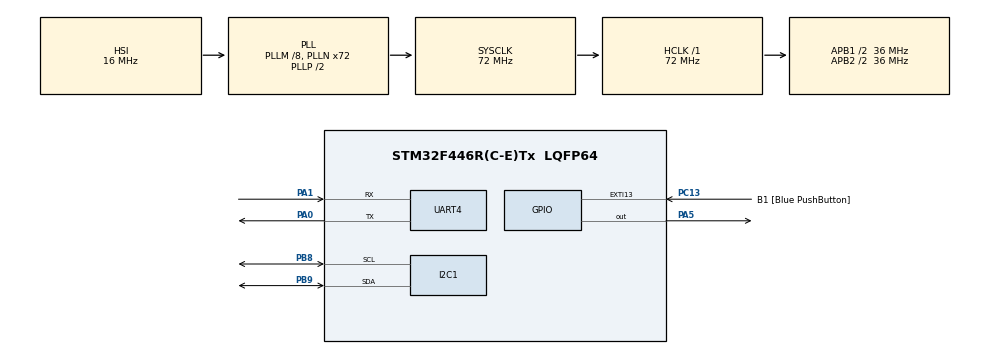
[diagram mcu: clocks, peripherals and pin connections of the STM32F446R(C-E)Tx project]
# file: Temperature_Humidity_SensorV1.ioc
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I2C1.I2C_Mode=I2C_Fast
Mcu.Family=STM32F4
Mcu.Name=STM32F446R(C-E)Tx
Mcu.Package=LQFP64
NVIC.PriorityGroup=NVIC_PRIORITYGROUP_0
NVIC.UART4_IRQn=true\:0\:0\:false\:false\:true\:true\:true\:true
PA0-WKUP.Mode=Asynchronous
PA0-WKUP.Signal=UART4_TX
PA1.Mode=Asynchronous
PA1.Signal=UART4_RX
PA10.Signal=USART1_RX
PA13.GPIO_Label=TMS
PA13.Mode=Serial_Wire
PA13.Signal=SYS_JTMS-SWDIO
PA14.GPIO_Label=TCK
PA14.Mode=Serial_Wire
PA14.Signal=SYS_JTCK-SWCLK
PA5.Signal=GPIO_Output
PA9.Signal=USART1_TX
PB3.GPIO_Label=SWO
PB3.Signal=SYS_JTDO-SWO
PB8.Mode=I2C
PB8.Signal=I2C1_SCL
PB9.Mode=I2C
PB9.Signal=I2C1_SDA
PC13.GPIO_Label=B1 [Blue PushButton]
PC13.GPIO_ModeDefaultEXTI=GPIO_MODE_IT_FALLING
PC13.Signal=GPXTI13
PC14-OSC32_IN.Signal=RCC_OSC32_IN
PC15-OSC32_OUT.Signal=RCC_OSC32_OUT
PH0-OSC_IN.Mode=HSE-External-Oscillator
PH0-OSC_IN.Signal=RCC_OSC_IN
PH1-OSC_OUT.Mode=HSE-External-Oscillator
PH1-OSC_OUT.Signal=RCC_OSC_OUT
ProjectManager.HeapSize=0x200
ProjectManager.StackSize=0x400
ProjectManager.TargetToolchain=STM32CubeIDE
RCC.48MHZClocksFreq_Value=84000000
RCC.AHBFreq_Value=72000000
RCC.APB1CLKDivider=RCC_HCLK_DIV2
RCC.APB1Freq_Value=36000000
RCC.APB1TimFreq_Value=72000000
RCC.APB2CLKDivider=RCC_HCLK_DIV2
RCC.APB2Freq_Value=36000000
RCC.APB2TimFreq_Value=72000000
RCC.CortexFreq_Value=72000000
RCC.FLatency-AdvancedSettings=FLASH_LATENCY_2
RCC.HCLKFreq_Value=72000000
RCC.HSE_VALUE=8000000
RCC.HSI_VALUE=16000000
RCC.PLLM=8
RCC.PLLN=72
RCC.SYSCLKFreq_VALUE=72000000
RCC.SYSCLKSource=RCC_SYSCLKSOURCE_PLLCLK
RCC.USBFreq_Value=72000000
RCC.VCOOutputFreq_Value=144000000
UART4.VirtualMode=Asynchronous
board=NUCLEO-F446RE

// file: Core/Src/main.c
/* USER CODE BEGIN Header */
/**
  ******************************************************************************
  * @file           : main.c
  * @brief          : Main program body
  ******************************************************************************
  * @attention
  *
  * Copyright (c) 2023 STMicroelectronics.
  * All rights reserved.
  *
  * This software is licensed under terms that can be found in the LICENSE file
  * in the root directory of this software component.
  * If no LICENSE file comes with this software, it is provided AS-IS.
  *
  ******************************************************************************
  */
/* USER CODE END Header */
#include "main.h"

/* USER CODE BEGIN Includes */
#include "LCD.h"
#include <stdio.h>
#include "DHT11.h"
#include <stdlib.h>
#include <math.h>
#include <string.h>
#include "stm32f4xx.h"
/* USER CODE END Includes */

I2C_HandleTypeDef hi2c1;

UART_HandleTypeDef huart4;

void SystemClock_Config(void);
static void MX_GPIO_Init(void);
static void MX_I2C1_Init(void);
static void MX_UART4_Init(void);
/* USER CODE BEGIN PFP */
void deleteFirstElement(uint8_t arr[], int size);
void deleteThree_Resize(uint8_t arr[], uint8_t arr2[], int size);
void HAL_UART_RxCpltCallback(UART_HandleTypeDef *huart);

//void float_to_array(float float_number, char* array);
//void LCD_Display(float temperature, float humidity);
/* USER CODE END PFP */

/* USER CODE BEGIN 0 */
uint8_t rxTemp[5];
uint8_t rxHumid[8];
uint8_t rxHumidFix[5];
uint8_t message[35] = {'\0'};
uint8_t num;
char Message[] = "Write anything on Serial Terminal\r\n";
int _write(int file, char *ptr, int len)
 {
	 int DataIdx;
	 for (DataIdx = 0; DataIdx < len; DataIdx++)
	 {
		 ITM_SendChar(*ptr++);
	 }
	 return len;
 }
/* USER CODE END 0 */

int main(void)
{

  /* MCU Configuration--------------------------------------------------------*/

  /* Reset of all peripherals, Initializes the Flash interface and the Systick. */
  HAL_Init();

  /* Configure the system clock */
  SystemClock_Config();

  /* Initialize all configured peripherals */
  MX_GPIO_Init();
  MX_I2C1_Init();
  MX_UART4_Init();
  /* USER CODE BEGIN 2 */
                     // Initializing LCD Display
  HD44780_Init(2);
  HD44780_PrintStr("Setting Up..");
  HAL_Delay(500);
  HD44780_Clear();
  HAL_UART_Transmit(&huart4, (uint8_t *)Message, strlen(Message), 10);
  //HAL_UART_Receive_IT(&huart4, rxBuffer, 20);

  /* USER CODE END 2 */

  /* Infinite loop */
  /* USER CODE BEGIN WHILE */
  while (1)
  { // Receiving 10 bytes?
	  HAL_UART_Receive(&huart4, rxTemp, 5, HAL_MAX_DELAY);
	  HAL_UART_Receive(&huart4, rxHumid, 8, HAL_MAX_DELAY);
	  deleteFirstElement(rxTemp,sizeof(rxTemp));
	  deleteThree_Resize(rxHumid, rxHumidFix, sizeof(rxHumidFix));
	  HD44780_PrintTemp((const char*)rxTemp);
	  HD44780_PrintHumid((const char*)rxHumidFix);
	  memset(rxTemp, 0, sizeof(rxTemp));
	  memset(rxHumidFix, 0, sizeof(rxHumidFix));
	  memset(rxHumid, 0, sizeof(rxHumid));

	  HAL_Delay(100);

    /* USER CODE END WHILE */

}
}

void SystemClock_Config(void)
{
  RCC_OscInitTypeDef RCC_OscInitStruct = {0};
  RCC_ClkInitTypeDef RCC_ClkInitStruct = {0};

  /** Configure the main internal regulator output voltage
  */
  __HAL_RCC_PWR_CLK_ENABLE();
  __HAL_PWR_VOLTAGESCALING_CONFIG(PWR_REGULATOR_VOLTAGE_SCALE3);

  /** Initializes the RCC Oscillators according to the specified parameters
  * in the RCC_OscInitTypeDef structure.
  */
  RCC_OscInitStruct.OscillatorType = RCC_OSCILLATORTYPE_HSI;
  RCC_OscInitStruct.HSIState = RCC_HSI_ON;
  RCC_OscInitStruct.HSICalibrationValue = RCC_HSICALIBRATION_DEFAULT;
  RCC_OscInitStruct.PLL.PLLState = RCC_PLL_ON;
  RCC_OscInitStruct.PLL.PLLSource = RCC_PLLSOURCE_HSI;
  RCC_OscInitStruct.PLL.PLLM = 8;
  RCC_OscInitStruct.PLL.PLLN = 72;
  RCC_OscInitStruct.PLL.PLLP = RCC_PLLP_DIV2;
  RCC_OscInitStruct.PLL.PLLQ = 2;
  RCC_OscInitStruct.PLL.PLLR = 2;
  if (HAL_RCC_OscConfig(&RCC_OscInitStruct) != HAL_OK)
  {
    Error_Handler();
  }

  /** Initializes the CPU, AHB and APB buses clocks
  */
  RCC_ClkInitStruct.ClockType = RCC_CLOCKTYPE_HCLK|RCC_CLOCKTYPE_SYSCLK
                              |RCC_CLOCKTYPE_PCLK1|RCC_CLOCKTYPE_PCLK2;
  RCC_ClkInitStruct.SYSCLKSource = RCC_SYSCLKSOURCE_PLLCLK;
  RCC_ClkInitStruct.AHBCLKDivider = RCC_SYSCLK_DIV1;
  RCC_ClkInitStruct.APB1CLKDivider = RCC_HCLK_DIV2;
  RCC_ClkInitStruct.APB2CLKDivider = RCC_HCLK_DIV2;

  if (HAL_RCC_ClockConfig(&RCC_ClkInitStruct, FLASH_LATENCY_2) != HAL_OK)
  {
    Error_Handler();
  }
}

static void MX_I2C1_Init(void)
{

  hi2c1.Instance = I2C1;
  hi2c1.Init.ClockSpeed = 400000;
  hi2c1.Init.DutyCycle = I2C_DUTYCYCLE_2;
  hi2c1.Init.OwnAddress1 = 0;
  hi2c1.Init.AddressingMode = I2C_ADDRESSINGMODE_7BIT;
  hi2c1.Init.DualAddressMode = I2C_DUALADDRESS_DISABLE;
  hi2c1.Init.OwnAddress2 = 0;
  hi2c1.Init.GeneralCallMode = I2C_GENERALCALL_DISABLE;
  hi2c1.Init.NoStretchMode = I2C_NOSTRETCH_DISABLE;
  if (HAL_I2C_Init(&hi2c1) != HAL_OK)
  {
    Error_Handler();
  }

}

static void MX_UART4_Init(void)
{

  huart4.Instance = UART4;
  huart4.Init.BaudRate = 115200;
  huart4.Init.WordLength = UART_WORDLENGTH_8B;
  huart4.Init.StopBits = UART_STOPBITS_1;
  huart4.Init.Parity = UART_PARITY_NONE;
  huart4.Init.Mode = UART_MODE_TX_RX;
  huart4.Init.HwFlowCtl = UART_HWCONTROL_NONE;
  huart4.Init.OverSampling = UART_OVERSAMPLING_16;
  if (HAL_UART_Init(&huart4) != HAL_OK)
  {
    Error_Handler();
  }

}

static void MX_GPIO_Init(void)
{
  GPIO_InitTypeDef GPIO_InitStruct = {0};

  /* GPIO Ports Clock Enable */
  __HAL_RCC_GPIOC_CLK_ENABLE();
  __HAL_RCC_GPIOH_CLK_ENABLE();
  __HAL_RCC_GPIOA_CLK_ENABLE();
  __HAL_RCC_GPIOB_CLK_ENABLE();

  /*Configure GPIO pin Output Level */
  HAL_GPIO_WritePin(GPIOA, GPIO_PIN_5, GPIO_PIN_RESET);

  /*Configure GPIO pin : B1_Pin */
  GPIO_InitStruct.Pin = B1_Pin;
  GPIO_InitStruct.Mode = GPIO_MODE_IT_FALLING;
  GPIO_InitStruct.Pull = GPIO_NOPULL;
  HAL_GPIO_Init(B1_GPIO_Port, &GPIO_InitStruct);

  /*Configure GPIO pin : PA5 */
  GPIO_InitStruct.Pin = GPIO_PIN_5;
  GPIO_InitStruct.Mode = GPIO_MODE_OUTPUT_PP;
  GPIO_InitStruct.Pull = GPIO_NOPULL;
  GPIO_InitStruct.Speed = GPIO_SPEED_FREQ_LOW;
  HAL_GPIO_Init(GPIOA, &GPIO_InitStruct);

  /*Configure GPIO pins : PA9 PA10 */
  GPIO_InitStruct.Pin = GPIO_PIN_9|GPIO_PIN_10;
  GPIO_InitStruct.Mode = GPIO_MODE_AF_PP;
  GPIO_InitStruct.Pull = GPIO_NOPULL;
  GPIO_InitStruct.Speed = GPIO_SPEED_FREQ_VERY_HIGH;
  GPIO_InitStruct.Alternate = GPIO_AF7_USART1;
  HAL_GPIO_Init(GPIOA, &GPIO_InitStruct);

}

/* USER CODE BEGIN 4 */
void deleteFirstElement(uint8_t arr[], int size) {
    if (size <= 0) {
        return; // Nothing to delete
    }

    // Loop to shift elements to the left
    for (int i = 0; i < size - 1; i++) {
        arr[i] = arr[i + 1];
    }
}
void deleteThree_Resize(uint8_t arr[], uint8_t arr2[], int size)
{
    if (size <= 0) {
    	return; // Nothing to delete
    }

    // Loop to shift elements to the left
    for (int i = 0; i < size; i++) {
        arr2[i] = arr[i + 3];
    }
}

//void LCD_Display(float temperature, float humidity) {
//  // Clear the LCD display
//  HD44780_Clear();
//
//  // Set the cursor to the beginning of the first line
//  HD44780_SetCursor(0, 0);
//
//  // Print "Temperature: "
//  HD44780_PrintStr("Temperature: ");
//
//  // Convert temperature to a string
//  char tempStr[10];
//  sprintf(tempStr, "%.2f", temperature);
//
//  // Print the temperature value
//  HD44780_PrintStr(tempStr);
//
//  // Set the cursor to the beginning of the second line
//  HD44780_SetCursor(0, 1);
//
//  // Print "Humidity: "
//  HD44780_PrintStr("Humidity: ");
//
//  // Convert humidity to a string
//  char humidStr[10];
//  sprintf(humidStr, "%.2f", humidity);
//
//  // Print the humidity value
//  HD44780_PrintStr(humidStr);
//}

//void HAL_UART_RxCpltCallback(UART_HandleTypeDef *huart) {
//  HAL_UART_Transmit(&huart4, (uint8_t *)Message, 26, 100);
//  HAL_GPIO_TogglePin(GPIOA, GPIO_PIN_5);
//  HAL_UART_Receive_IT(&huart4, rxBuffer, 20);//
//}

/* USER CODE END 4 */

void Error_Handler(void)
{
  __disable_irq();
  while (1)
  {
  }
}
